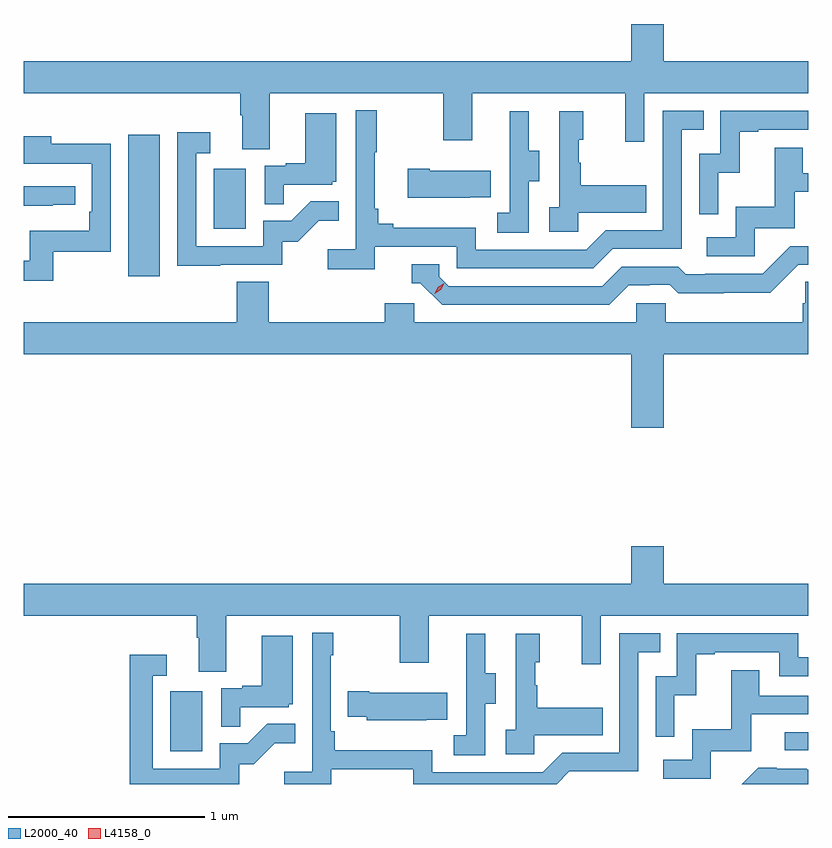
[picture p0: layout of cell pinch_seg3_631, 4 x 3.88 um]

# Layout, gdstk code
import gdstk
lib = gdstk.Library(unit=1e-6, precision=1e-09)
def R(c, l, rs):  # rectangles x0, y0, x1, y1
    for r in rs: c.add(gdstk.rectangle(r[:2], r[2:], *l))
def P(c, l, *ps):  # polygons
    for p in ps: c.add(gdstk.Polygon(p, *l))
L2000_40 = (2000, 40)
L4158_0 = (4158, 0)

pinch_seg3_631 = lib.new_cell('pinch_seg3_631')
R(pinch_seg3_631, L2000_40, [(1037.78,666.924,1037.944,667.231), (1040.913,666.93,1041.034,667.023), (1037.567,669.348,1037.728,670.069), (1038.002,669.588,1038.166,669.895)])
P(pinch_seg3_631, L2000_40, [(1038.289,670.28),(1039.174,670.28),(1039.174,670.041),(1039.321,670.041),(1039.321,670.28),(1040.102,670.28),(1040.102,670.032),(1040.199,670.032),(1040.199,670.28),(1041.034,670.28),(1041.034,670.444),(1040.296,670.444),(1040.296,670.633),(1040.132,670.633),(1040.132,670.444),(1037.034,670.444),(1037.034,670.28),(1038.137,670.28),(1038.137,670.168),(1038.149,670.168),(1038.149,669.994),(1038.289,669.994)],
  [(1038.824,669.498),(1039.242,669.498),(1039.242,669.387),(1039.939,669.387),(1040.038,669.486),(1040.388,669.486),(1040.388,670.095),(1040.501,670.095),(1040.501,670.191),(1040.292,670.191),(1040.292,669.582),(1040.001,669.582),(1039.902,669.483),(1039.338,669.483),(1039.338,669.595),(1038.919,669.595),(1038.919,669.614),(1038.842,669.614),(1038.842,669.691),(1038.823,669.691),(1038.823,669.979),(1038.835,669.979),(1038.835,670.192),(1038.726,670.192),(1038.726,669.484),(1038.585,669.484),(1038.585,669.382),(1038.824,669.382)],
  [(1040.574,669.875),(1040.684,669.875),(1040.684,670.083),(1040.779,670.083),(1040.779,670.095),(1041.034,670.095),(1041.034,670.191),(1040.586,670.191),(1040.586,669.972),(1040.478,669.972),(1040.478,669.663),(1040.574,669.663)],
  [(1039.608,669.832),(1039.663,669.832),(1039.663,669.987),(1039.609,669.987),(1039.609,670.189),(1039.511,670.189),(1039.511,669.975),(1039.512,669.975),(1039.512,669.671),(1039.449,669.671),(1039.449,669.568),(1039.608,669.568)],
  [(1039.86,669.671),(1040.207,669.671),(1040.207,669.811),(1039.873,669.811),(1039.873,669.926),(1039.863,669.926),(1039.863,670.044),(1039.888,670.044),(1039.888,670.189),(1039.764,670.189),(1039.764,669.698),(1039.713,669.698),(1039.713,669.573),(1039.86,669.573)],
  [(1038.359,669.813),(1038.606,669.813),(1038.606,669.828),(1038.628,669.828),(1038.628,670.177),(1038.47,670.177),(1038.47,669.922),(1038.371,669.922),(1038.371,669.909),(1038.264,669.909),(1038.264,669.715),(1038.359,669.715)],
  [(1038.035,669.405),(1038.353,669.405),(1038.353,669.522),(1038.43,669.522),(1038.537,669.629),(1038.641,669.629),(1038.641,669.728),(1038.497,669.728),(1038.399,669.63),(1038.255,669.63),(1038.255,669.501),(1037.913,669.501),(1037.913,669.975),(1037.986,669.975),(1037.986,670.081),(1037.817,670.081),(1037.817,669.4),(1038.035,669.4)],
  [(1037.185,669.471),(1037.478,669.471),(1037.478,670.022),(1037.173,670.022),(1037.173,670.06),(1037.034,670.06),(1037.034,669.92),(1037.069,669.92),(1037.069,669.921),(1037.382,669.921),(1037.382,669.676),(1037.369,669.676),(1037.369,669.58),(1037.064,669.58),(1037.064,669.425),(1037.034,669.425),(1037.034,669.324),(1037.185,669.324)],
  [(1040.76,669.591),(1040.965,669.591),(1040.965,669.777),(1041.034,669.777),(1041.034,669.873),(1041.007,669.873),(1041.007,670.003),(1040.863,670.003),(1040.863,669.7),(1040.664,669.7),(1040.664,669.546),(1040.517,669.546),(1040.517,669.45),(1040.76,669.45)],
  [(1039.307,669.749),(1039.415,669.749),(1039.415,669.886),(1039.105,669.886),(1039.105,669.894),(1038.993,669.894),(1038.993,669.746),(1039.307,669.746)],
  [(1037.183,669.711),(1037.296,669.711),(1037.296,669.807),(1037.034,669.807),(1037.034,669.706),(1037.183,669.706)],
  [(1040.119,669.3),(1040.226,669.3),(1040.226,669.303),(1040.329,669.303),(1040.371,669.261),(1040.604,669.261),(1040.604,669.263),(1040.84,669.263),(1040.982,669.405),(1041.034,669.405),(1041.034,669.501),(1040.943,669.501),(1040.802,669.36),(1040.509,669.36),(1040.509,669.357),(1040.41,669.357),(1040.371,669.396),(1040.082,669.396),(1039.983,669.297),(1039.2,669.297),(1039.152,669.345),(1039.152,669.408),(1039.013,669.408),(1039.013,669.312),(1039.056,669.312),(1039.167,669.201),(1040.02,669.201)],
  [(1040.296,668.948),(1041.034,668.948),(1041.034,669.32),(1041.019,669.32),(1041.019,669.21),(1041.005,669.21),(1041.005,669.112),(1040.307,669.112),(1040.307,669.21),(1040.157,669.21),(1040.157,669.112),(1039.026,669.112),(1039.026,669.21),(1038.875,669.21),(1038.875,669.112),(1038.284,669.112),(1038.284,669.32),(1038.119,669.32),(1038.119,669.112),(1037.034,669.112),(1037.034,668.948),(1040.132,668.948),(1040.132,668.574),(1040.296,668.574)],
  [(1038.067,667.616),(1038.952,667.616),(1038.952,667.377),(1039.099,667.377),(1039.099,667.616),(1039.88,667.616),(1039.88,667.368),(1039.977,667.368),(1039.977,667.616),(1041.034,667.616),(1041.034,667.78),(1040.296,667.78),(1040.296,667.969),(1040.132,667.969),(1040.132,667.78),(1037.034,667.78),(1037.034,667.616),(1037.915,667.616),(1037.915,667.504),(1037.927,667.504),(1037.927,667.33),(1038.067,667.33)],
  [(1038.602,666.834),(1039.02,666.834),(1039.02,666.758),(1039.752,666.758),(1039.816,666.822),(1040.166,666.822),(1040.166,667.431),(1040.279,667.431),(1040.279,667.527),(1040.07,667.527),(1040.07,666.918),(1039.779,666.918),(1039.68,666.819),(1039.116,666.819),(1039.116,666.931),(1038.62,666.931),(1038.62,667.027),(1038.6,667.027),(1038.6,667.415),(1038.613,667.415),(1038.613,667.528),(1038.504,667.528),(1038.504,666.82),(1038.363,666.82),(1038.363,666.758),(1038.602,666.758)],
  [(1040.352,667.211),(1040.462,667.211),(1040.462,667.419),(1040.557,667.419),(1040.557,667.431),(1040.886,667.431),(1040.886,667.308),(1041.034,667.308),(1041.034,667.404),(1040.982,667.404),(1040.982,667.527),(1040.364,667.527),(1040.364,667.308),(1040.256,667.308),(1040.256,666.999),(1040.352,666.999)],
  [(1039.638,667.007),(1039.985,667.007),(1039.985,667.147),(1039.651,667.147),(1039.651,667.262),(1039.641,667.262),(1039.641,667.38),(1039.666,667.38),(1039.666,667.525),(1039.542,667.525),(1039.542,667.034),(1039.491,667.034),(1039.491,666.909),(1039.638,666.909)],
  [(1039.386,667.168),(1039.441,667.168),(1039.441,667.323),(1039.387,667.323),(1039.387,667.525),(1039.289,667.525),(1039.289,667.311),(1039.29,667.311),(1039.29,667.007),(1039.227,667.007),(1039.227,666.904),(1039.386,666.904)],
  [(1038.137,667.149),(1038.384,667.149),(1038.384,667.164),(1038.406,667.164),(1038.406,667.513),(1038.248,667.513),(1038.248,667.258),(1038.149,667.258),(1038.149,667.245),(1038.042,667.245),(1038.042,667.051),(1038.137,667.051)],
  [(1038.132,666.858),(1038.208,666.858),(1038.315,666.965),(1038.419,666.965),(1038.419,667.064),(1038.275,667.064),(1038.177,666.966),(1038.033,666.966),(1038.033,666.837),(1037.691,666.837),(1037.691,667.311),(1037.764,667.311),(1037.764,667.417),(1037.575,667.417),(1037.575,666.758),(1038.132,666.758)],
  [(1040.538,666.926),(1040.743,666.926),(1040.743,667.113),(1041.034,667.113),(1041.034,667.209),(1040.785,667.209),(1040.785,667.339),(1040.641,667.339),(1040.641,667.036),(1040.442,667.036),(1040.442,666.882),(1040.295,666.882),(1040.295,666.786),(1040.538,666.786)],
  [(1039.085,667.085),(1039.193,667.085),(1039.193,667.222),(1038.796,667.222),(1038.796,667.23),(1038.685,667.23),(1038.685,667.1),(1038.783,667.1),(1038.783,667.082),(1039.085,667.082)],
  [(1041.034,666.83),(1041.027,666.837),(1040.873,666.837),(1040.873,666.842),(1040.78,666.842),(1040.696,666.758),(1041.034,666.758)])
P(pinch_seg3_631, L4158_0, [(1039.13,669.258),(1039.13,669.258),(1039.146,669.291),(1039.177,669.31),(1039.177,669.31),(1039.177,669.31),(1039.161,669.277),(1039.13,669.258)])

lib.write_gds('pinch_seg3_631.gds')
